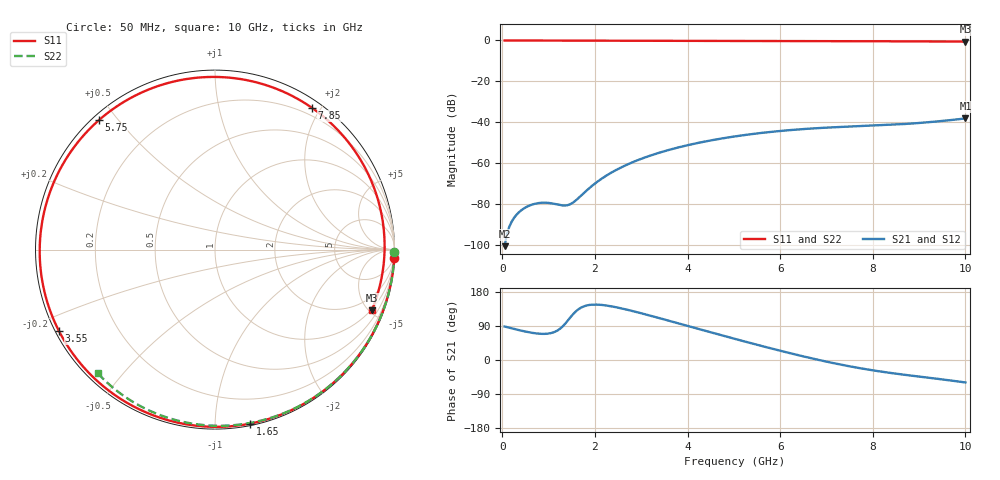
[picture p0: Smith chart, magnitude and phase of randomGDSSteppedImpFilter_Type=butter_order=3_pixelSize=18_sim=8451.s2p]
! freq	dB(S11)	phase(S11)	dB(S12)	phase(S12)
!  dB(S21)	phase(S21)	dB(S22)	phase(S22)
!S-par simulation data
#  GHz  S  DB  R 50
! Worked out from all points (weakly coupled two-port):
!   200 points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, 50 MHz to 10 GHz, reference 50 ohm
!   highest |S21| = -38.14 dB at 10 GHz (marker M1); lowest = -100.6 dB at 50 MHz (marker M2)
!   lowest |S11| = -0.6 dB at 10 GHz (marker M3), VSWR 30.44, Z = 47.5 - j260 ohm
!   |S11| at or under -10 dB: nowhere
!   |S22| runs from -0.5 to 0.0 dB; largest |S21 - S12| = 0
!   S11 on the Smith chart (normalised r, x): 50 MHz: 0, -45; 1.65 GHz: 0.01, -1.22; 3.55 GHz: 0.01, -0.25; 5.75 GHz: 0.02, +0.45; 7.85 GHz: 0.10, +1.89; 10 GHz: 0.95, -5.20
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0.05  -0.00 -2.5  -100.62 88.4  -100.62 88.4  -0.00 -0.8
0.45  -0.03 -22.4  -82.41 76.4  -82.41 76.4  -0.01 -6.9
0.9  -0.06 -44.3  -79.35 68.9  -79.35 68.9  -0.02 -13.8
1.45  -0.09 -69.7  -80.28 109.4  -80.28 109.4  -0.03 -22.1
1.65  -0.10 -78.6  -76.98 134.3  -76.98 134.3  -0.03 -25.1
1.75  -0.10 -82.9  -74.87 141.0  -74.87 141.0  -0.03 -26.5
2.1  -0.12 -97.6  -68.32 145.8  -68.32 145.8  -0.04 -31.7
2.45  -0.13 -111.7  -63.45 139.4  -63.45 139.4  -0.05 -36.9
2.95  -0.15 -130.7  -58.32 124.9  -58.32 124.9  -0.06 -44.1
3.4  -0.16 -147.1  -54.83 110.2  -54.83 110.2  -0.07 -50.5
3.55  -0.17 -152.4  -53.84 105.2  -53.84 105.2  -0.07 -52.6
4.3  -0.20 -178.4  -49.78 79.9  -49.78 79.9  -0.09 -63.0
5.05  -0.24 156.1  -46.84 54.8  -46.84 54.8  -0.11 -73.1
5.75  -0.28 132.0  -44.84 32.3  -44.84 32.3  -0.14 -82.3
6.25  -0.30 114.3  -43.78 16.9  -43.78 16.9  -0.16 -88.6
6.7  -0.33 98.1  -43.04 3.9  -43.04 3.9  -0.18 -94.3
7.25  -0.35 77.9  -42.37 -10.7  -42.37 -10.7  -0.21 -101.0
7.85  -0.38 55.6  -41.79 -24.3  -41.79 -24.3  -0.25 -108.3
8.35  -0.41 37.0  -41.29 -33.6  -41.29 -33.6  -0.29 -114.2
8.75  -0.44 22.3  -40.77 -40.0  -40.77 -40.0  -0.32 -118.9
9.15  -0.47 7.9  -40.10 -46.0  -40.10 -46.0  -0.36 -123.6
10  -0.57 -21.1  -38.14 -59.2  -38.14 -59.2  -0.45 -133.5
